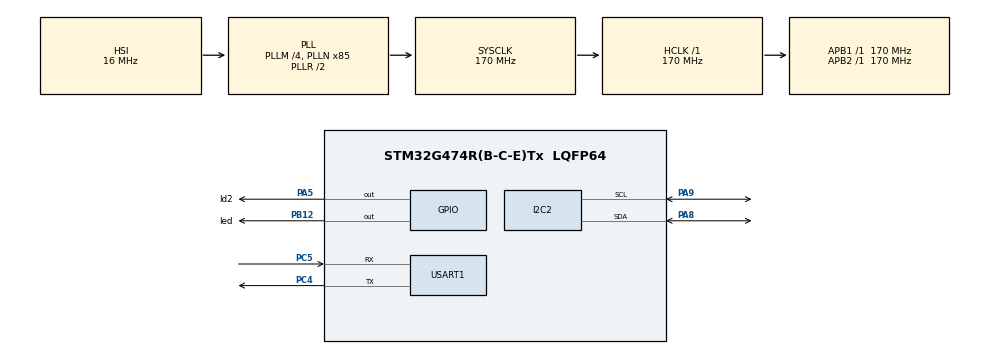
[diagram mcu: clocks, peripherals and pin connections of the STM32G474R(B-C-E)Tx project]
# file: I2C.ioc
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Dma.Request0=USART1_RX
Dma.Request1=USART1_TX
Dma.USART1_RX.0.Direction=DMA_PERIPH_TO_MEMORY
Dma.USART1_RX.0.EventEnable=DISABLE
Dma.USART1_RX.0.Instance=DMA1_Channel1
Dma.USART1_RX.0.MemDataAlignment=DMA_MDATAALIGN_BYTE
Dma.USART1_RX.0.MemInc=DMA_MINC_ENABLE
Dma.USART1_RX.0.Mode=DMA_NORMAL
Dma.USART1_RX.0.PeriphDataAlignment=DMA_PDATAALIGN_BYTE
Dma.USART1_RX.0.PeriphInc=DMA_PINC_DISABLE
Dma.USART1_RX.0.Polarity=HAL_DMAMUX_REQ_GEN_RISING
Dma.USART1_RX.0.Priority=DMA_PRIORITY_LOW
Dma.USART1_RX.0.RequestNumber=1
Dma.USART1_RX.0.SignalID=NONE
Dma.USART1_RX.0.SyncEnable=DISABLE
Dma.USART1_RX.0.SyncPolarity=HAL_DMAMUX_SYNC_NO_EVENT
Dma.USART1_RX.0.SyncRequestNumber=1
Dma.USART1_RX.0.SyncSignalID=NONE
Dma.USART1_TX.1.Direction=DMA_MEMORY_TO_PERIPH
Dma.USART1_TX.1.EventEnable=DISABLE
Dma.USART1_TX.1.Instance=DMA1_Channel2
Dma.USART1_TX.1.MemDataAlignment=DMA_MDATAALIGN_BYTE
Dma.USART1_TX.1.MemInc=DMA_MINC_ENABLE
Dma.USART1_TX.1.Mode=DMA_NORMAL
Dma.USART1_TX.1.PeriphDataAlignment=DMA_PDATAALIGN_BYTE
Dma.USART1_TX.1.PeriphInc=DMA_PINC_DISABLE
Dma.USART1_TX.1.Polarity=HAL_DMAMUX_REQ_GEN_RISING
Dma.USART1_TX.1.Priority=DMA_PRIORITY_LOW
Dma.USART1_TX.1.RequestNumber=1
Dma.USART1_TX.1.SignalID=NONE
Dma.USART1_TX.1.SyncEnable=DISABLE
Dma.USART1_TX.1.SyncPolarity=HAL_DMAMUX_SYNC_NO_EVENT
Dma.USART1_TX.1.SyncRequestNumber=1
Dma.USART1_TX.1.SyncSignalID=NONE
I2C2.Timing=0x00503D58
Mcu.Family=STM32G4
Mcu.Name=STM32G474R(B-C-E)Tx
Mcu.Package=LQFP64
NUCLEO-G474RE.LD2=false
NVIC.DMA1_Channel1_IRQn=true\:0\:0\:false\:false\:true\:false\:true\:true
NVIC.DMA1_Channel2_IRQn=true\:0\:0\:false\:false\:true\:false\:true\:true
NVIC.PriorityGroup=NVIC_PRIORITYGROUP_4
NVIC.USART1_IRQn=true\:0\:0\:false\:false\:true\:true\:true\:true
PA13.GPIO_Label=T_SWDIO
PA13.Mode=Serial_Wire
PA13.Signal=SYS_JTMS-SWDIO
PA14.GPIO_Label=T_SWCLK
PA14.Mode=Serial_Wire
PA14.Signal=SYS_JTCK-SWCLK
PA2.GPIO_Label=LPUART1_TX [STLINKV3E_VCP_RX]
PA2.Signal=LPUART1_TX
PA3.GPIO_Label=LPUART1_RX [STLINKV3E_VCP_TX]
PA3.Signal=LPUART1_RX
PA5.GPIO_Label=ld2
PA5.Signal=GPIO_Output
PA8.Mode=I2C
PA8.Signal=I2C2_SDA
PA9.Mode=I2C
PA9.Signal=I2C2_SCL
PB12.GPIO_Label=led
PB12.PinState=GPIO_PIN_RESET
PB12.Signal=GPIO_Output
PB3.GPIO_Label=T_SWO
PB3.Signal=SYS_JTDO-SWO
PC14-OSC32_IN.GPIO_Label=RCC_OSC32_IN
PC14-OSC32_IN.Mode=LSE-External-Oscillator
PC14-OSC32_IN.Signal=RCC_OSC32_IN
PC15-OSC32_OUT.GPIO_Label=RCC_OSC32_OUT
PC15-OSC32_OUT.Mode=LSE-External-Oscillator
PC15-OSC32_OUT.Signal=RCC_OSC32_OUT
PC4.Mode=Asynchronous
PC4.Signal=USART1_TX
PC5.Mode=Asynchronous
PC5.Signal=USART1_RX
PF0-OSC_IN.GPIO_Label=RCC_OSC_IN
PF0-OSC_IN.Mode=HSE-External-Oscillator
PF0-OSC_IN.Signal=RCC_OSC_IN
PF1-OSC_OUT.GPIO_Label=RCC_OSC_OUT
PF1-OSC_OUT.Mode=HSE-External-Oscillator
PF1-OSC_OUT.Signal=RCC_OSC_OUT
ProjectManager.HeapSize=0x200
ProjectManager.StackSize=0x400
ProjectManager.TargetToolchain=CMake
RCC.ADC12Freq_Value=170000000
RCC.ADC345Freq_Value=170000000
RCC.AHBFreq_Value=170000000
RCC.APB1Freq_Value=170000000
RCC.APB1TimFreq_Value=170000000
RCC.APB2Freq_Value=170000000
RCC.APB2TimFreq_Value=170000000
RCC.CortexFreq_Value=170000000
RCC.EXTERNAL_CLOCK_VALUE=12288000
RCC.HCLKFreq_Value=170000000
RCC.HSE_VALUE=24000000
RCC.HSI48_VALUE=48000000
RCC.HSI_VALUE=16000000
RCC.I2C2CLockSelection=RCC_I2C2CLKSOURCE_HSI
RCC.PLLM=RCC_PLLM_DIV4
RCC.PLLN=85
RCC.RTCClockSelection=RCC_RTCCLKSOURCE_LSE
RCC.SYSCLKFreq_VALUE=170000000
RCC.SYSCLKSource=RCC_SYSCLKSOURCE_PLLCLK
RCC.USBFreq_Value=170000000
RCC.VCOOutputFreq_Value=340000000
USART1.VirtualMode-Asynchronous=VM_ASYNC
VP_NUCLEO-G474RE_VS_BSP_COMMON.Mode=COMMON
VP_SYS_VS_DBSignals.Mode=DisableDeadBatterySignals
board=NUCLEO-G474RE

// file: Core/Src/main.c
/* USER CODE BEGIN Header */
/**
  ******************************************************************************
  * @file           : main.c
  * @brief          : Main program body
  ******************************************************************************
  * @attention
  *
  * Copyright (c) 2025 STMicroelectronics.
  * All rights reserved.
  *
  * This software is licensed under terms that can be found in the LICENSE file
  * in the root directory of this software component.
  * If no LICENSE file comes with this software, it is provided AS-IS.
  *
  ******************************************************************************
  */
/* USER CODE END Header */
#include "main.h"
#include "dma.h"
#include "i2c.h"
#include "usart.h"
#include "gpio.h"

/* USER CODE BEGIN Includes */
#include "stdio.h"
#include "string.h"
#include "AHT20.h"
#include "SPL06.h"
#include "SPL06_001.h"
#include "BH1745.h"
#include "VL53L0.h"
/* USER CODE END Includes */

/* USER CODE BEGIN PV */
char message[50];
char message1[50];
char message2[50];
char message3[50];
char message4[50];
char message5[50];
char receivedata[50];
char all[150];
SPL06_HandleTypeDef hspi06;  // 气压传感器实例
extern DMA_HandleTypeDef hdma_usart1_rx;//
BH1745_HandleTypeDef hbh1745;
/* USER CODE END PV */

void SystemClock_Config(void);

/* USER CODE BEGIN 0 */
void HAL_UARTEx_RxEventCallback(UART_HandleTypeDef *huart, uint16_t Size) {
  if (huart==&huart1) {
    HAL_UART_Transmit_DMA(huart, (uint8_t*)message, strlen(message));
    HAL_UARTEx_ReceiveToIdle_DMA(&huart1, (uint8_t *)receivedata, sizeof(receivedata));
    __HAL_DMA_DISABLE_IT(&hdma_usart1_rx,DMA_IT_HT);//关闭过半中断
  }
}

/* USER CODE END 0 */

int main(void)
{

  /* MCU Configuration--------------------------------------------------------*/

  /* Reset of all peripherals, Initializes the Flash interface and the Systick. */
  HAL_Init();

  /* Configure the system clock */
  SystemClock_Config();

  /* Initialize all configured peripherals */
  MX_GPIO_Init();
  MX_DMA_Init();
  MX_USART1_UART_Init();
  MX_I2C2_Init();
  /* USER CODE BEGIN 2 */
  //HAL_UARTEx_ReceiveToIdle_DMA(&huart1,receivedata,sizeof(receivedata));
  //__HAL_DMA_DISABLE_IT(&hdma_usart1_rx,DMA_IT_HT);//关闭过半中断

  /*-------------------------*/

  //         温湿度

  int a=AHT20_init();
  if (a!=0) {
    sprintf(message2,"AHT20 failed\r\n");
    HAL_UART_Transmit(&huart1,message2,strlen(message2),HAL_MAX_DELAY);
    //Error_Handler();
  }
  else {
    sprintf(message2,"AHT20 success\r\n");
    HAL_UART_Transmit(&huart1,message2,strlen(message2),HAL_MAX_DELAY);
  }
  HAL_Delay(10);
  /*-------------------------*/

  //  气压

  // if (SPL06_Init(&hspi06, &hi2c2, SPL06_I2C_ADDR_DEFAULT) != HAL_OK) {
  //   // 初始化失败处理
  //   Error_Handler();
  // }

  /*-----------------------------------------------------------------------------------------------*/

  //                 气压

  int assure=spl06_init();
  if(assure==0){
    sprintf(message1,"SP106__SUCCESS!!!\r\n");
    HAL_UART_Transmit(&huart1,(uint8_t*)message1,strlen(message1),500);
  }
  else {
    sprintf(message1,"SP106__failed!!!\r\n");
    HAL_UART_Transmit(&huart1,(uint8_t*)message1,strlen(message1),500);
    //Error_Handler();
  }
  HAL_Delay(10);
  /*--------------------------------------------------------------------------------------*/

  //                光

  // BH1745_RGBData rgb_data;
  // if (HAL_I2C_IsDeviceReady(&hi2c2, BH1745_ADDR_HIGH << 1, 3, 100) != HAL_OK)
  // {
  //   sprintf(message3, "Device not found!\r\n");
  //   HAL_UART_Transmit(&huart1, (uint8_t*)message3, strlen(message3), 500);
  // }
  // // 初始化BH1745
  // if(BH1745_Init(&hbh1745, &hi2c2, BH1745_ADDR_HIGH) != HAL_OK)
  // {
  //   sprintf(message3, "BH1745初始化失败\r\n");
  //   HAL_UART_Transmit(&huart1, (uint8_t*)message3, strlen(message3), 500);
  //   while (1)
  //   {}
  // }
  // sprintf(message3,"BH1745制造商ID: 0x%02X\r\n",BH1745_ReadManufacturerID(&hbh1745));
  // HAL_UART_Transmit(&huart1, (uint8_t*)message3, strlen(message3), 500);
  //
  // // 设置增益为16x
  // BH1745_SetGain(&hbh1745, BH1745_GAIN_16X);
  //
  // // 设置测量时间为640ms
  // BH1745_SetMeasurementTime(&hbh1745, BH1745_MEASUREMENT_TIME_640MS);

  /*------------------------------------------------------------------------*/
  /*------------------------------------------------------------------------*/
  if (!VL53L0X_Init(VL53L0X_DEFAULT_I2C_ADDR1,true))
  {
    sprintf(message5,"VL53L0X failed\r\n");
    HAL_UART_Transmit(&huart1,(uint8_t*)message5,strlen(message5),HAL_MAX_DELAY);
    //Error_Handler();
  }
  else {
    sprintf(message5,"VL53L0X success\r\n");
    HAL_UART_Transmit(&huart1,(uint8_t*)message5,strlen(message5),HAL_MAX_DELAY);
  }
  HAL_Delay(10);
  /*------------------------------------------------------------------------*/
  float AHT_t,humidity,pressure,SPL_T,temperature;
  int i,L;
  /* USER CODE END 2 */

  /* Infinite loop */
  /* USER CODE BEGIN WHILE */
  while (1)
  {

    /*----------------测气压--------------*/
    // if (SPL06_MeasurePressureOnce(&hspi06) == HAL_OK) {
    //   // 测量成功，可以访问hspi06.pressure获取气压值(单位:Pa)
    //   pressure=hspi06.pressure;
    //   //sprintf(message1, "Pressure: %.2f Pa", pressure);
    //   //HAL_UART_Transmit_DMA(&huart1, (uint8_t*)message1, strlen(message1));
    //
    //   // 例如转换为hPa: float pressure_hPa = hspi06.pressure / 100.0f;
    // } else {
    //   // 测量失败处理
    //   HAL_GPIO_WritePin(led_GPIO_Port, led_Pin, GPIO_PIN_SET);
    // }
    /*------------------------------------*/

    /*--------------新的测气压-----------*/
    spl06_get_result(&pressure,&SPL_T);
    HAL_Delay(100);
    /*----------------------------------*/

    /*  -----测温湿度--------  */
    AHT20_read(&AHT_t,&humidity);
     // sprintf(message2,"Temperature: %.1f °C, Humidity: %.1f %%\r\n",AHT_t,humidity);
     // HAL_UART_Transmit_DMA(&huart1,(uint8_t*)message2,strlen(message2));
    HAL_Delay(100);
    /*------------------------*/

    /*---------------测光强色温----------------*/

    // 读取RGB数据
    // if(BH1745_ReadRGB(&hbh1745, &rgb_data) == HAL_OK)
    // {
    //   sprintf(message3, "R: %5d, G: %5d, B: %5d, C: %5d\r\n",rgb_data.red, rgb_data.green, rgb_data.blue, rgb_data.clear);
    //   HAL_UART_Transmit(&huart1, (uint8_t*)message3, strlen(message3), 100);
    // }
    // else
    // {
    //   sprintf(message3,"读取RGB数据失败\r\n");
    // }

    /*----------------------------------------*/

    L=VL53L0X_readRangeSingleMillimeters(VL53L0X_DEFAULT_I2C_ADDR1);
    // sprintf(message5,"%d",L);
    // HAL_UART_Transmit(&huart1, (uint8_t*)message5, strlen(message5), 500);
    HAL_Delay(100);

    temperature=(AHT_t+SPL_T)/2;
    sprintf(all,"Temprature:%.2f °C; Pressure:%.2f hpa; SPL_T:%.2f °C; AHT_t:%.2f °C; humidity:%.1f %%; DIS: %d mm",
      temperature,pressure,SPL_T,AHT_t,humidity,L);

    HAL_UART_Transmit(&huart1,(uint8_t*)all,strlen(all),500);
    HAL_Delay(1000);
    /* USER CODE END WHILE */

  }
}

void SystemClock_Config(void)
{
  RCC_OscInitTypeDef RCC_OscInitStruct = {0};
  RCC_ClkInitTypeDef RCC_ClkInitStruct = {0};

  /** Configure the main internal regulator output voltage
  */
  HAL_PWREx_ControlVoltageScaling(PWR_REGULATOR_VOLTAGE_SCALE1_BOOST);

  /** Initializes the RCC Oscillators according to the specified parameters
  * in the RCC_OscInitTypeDef structure.
  */
  RCC_OscInitStruct.OscillatorType = RCC_OSCILLATORTYPE_HSI;
  RCC_OscInitStruct.HSIState = RCC_HSI_ON;
  RCC_OscInitStruct.HSICalibrationValue = RCC_HSICALIBRATION_DEFAULT;
  RCC_OscInitStruct.PLL.PLLState = RCC_PLL_ON;
  RCC_OscInitStruct.PLL.PLLSource = RCC_PLLSOURCE_HSI;
  RCC_OscInitStruct.PLL.PLLM = RCC_PLLM_DIV4;
  RCC_OscInitStruct.PLL.PLLN = 85;
  RCC_OscInitStruct.PLL.PLLP = RCC_PLLP_DIV2;
  RCC_OscInitStruct.PLL.PLLQ = RCC_PLLQ_DIV2;
  RCC_OscInitStruct.PLL.PLLR = RCC_PLLR_DIV2;
  if (HAL_RCC_OscConfig(&RCC_OscInitStruct) != HAL_OK)
  {
    Error_Handler();
  }

  /** Initializes the CPU, AHB and APB buses clocks
  */
  RCC_ClkInitStruct.ClockType = RCC_CLOCKTYPE_HCLK|RCC_CLOCKTYPE_SYSCLK
                              |RCC_CLOCKTYPE_PCLK1|RCC_CLOCKTYPE_PCLK2;
  RCC_ClkInitStruct.SYSCLKSource = RCC_SYSCLKSOURCE_PLLCLK;
  RCC_ClkInitStruct.AHBCLKDivider = RCC_SYSCLK_DIV1;
  RCC_ClkInitStruct.APB1CLKDivider = RCC_HCLK_DIV1;
  RCC_ClkInitStruct.APB2CLKDivider = RCC_HCLK_DIV1;

  if (HAL_RCC_ClockConfig(&RCC_ClkInitStruct, FLASH_LATENCY_4) != HAL_OK)
  {
    Error_Handler();
  }
}

void Error_Handler(void)
{
  __disable_irq();
  while (1)
  {
  }
}
